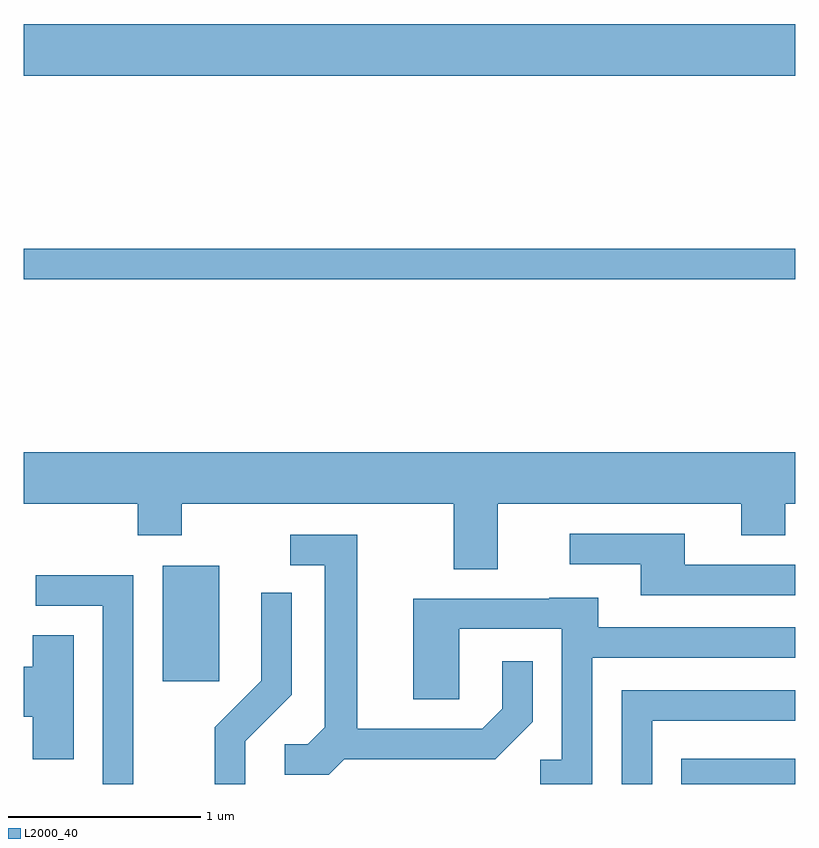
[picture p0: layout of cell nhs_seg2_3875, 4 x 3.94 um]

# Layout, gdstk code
import gdstk
lib = gdstk.Library(unit=1e-6, precision=1e-09)
def R(c, l, rs):  # rectangles x0, y0, x1, y1
    for r in rs: c.add(gdstk.rectangle(r[:2], r[2:], *l))
def P(c, l, *ps):  # polygons
    for p in ps: c.add(gdstk.Polygon(p, *l))
L2000_40 = (2000, 40)

nhs_seg2_3875 = lib.new_cell('nhs_seg2_3875')
R(nhs_seg2_3875, L2000_40, [(303.021,995.802,303.611,995.934), (300.331,996.336,300.624,996.934), (299.611,998.421,303.611,998.579), (299.611,999.476,303.611,999.744)])
P(nhs_seg2_3875, L2000_40, [(302.069,997.256),(303.331,997.256),(303.331,997.091),(303.559,997.091),(303.559,997.256),(303.611,997.256),(303.611,997.524),(299.611,997.524),(299.611,997.256),(300.201,997.256),(300.201,997.091),(300.429,997.091),(300.429,997.256),(301.841,997.256),(301.841,996.916),(302.069,996.916)],
  [(303.611,996.939),(303.039,996.939),(303.039,997.099),(302.443,997.099),(302.443,996.941),(302.811,996.941),(302.811,996.781),(303.611,996.781)],
  [(301.272,995.931),(302.057,995.931),(302.249,996.124),(302.249,996.438),(302.091,996.438),(302.091,996.192),(301.989,996.089),(301.339,996.089),(301.339,997.094),(300.993,997.094),(300.993,996.936),(301.171,996.936),(301.171,996.097),(301.084,996.009),(300.963,996.009),(300.963,995.851),(301.192,995.851)],
  [(300.179,996.884),(299.673,996.884),(299.673,996.726),(300.021,996.726),(300.021,995.802),(300.179,995.802)],
  [(300.759,996.024),(300.999,996.264),(300.999,996.793),(300.841,996.793),(300.841,996.337),(300.601,996.097),(300.601,995.802),(300.759,995.802)],
  [(302.559,996.456),(303.611,996.456),(303.611,996.614),(302.589,996.614),(302.589,996.769),(302.335,996.769),(302.335,996.764),(301.631,996.764),(301.631,996.241),(301.869,996.241),(301.869,996.606),(302.401,996.606),(302.401,995.929),(302.288,995.929),(302.288,995.802),(302.559,995.802)],
  [(299.869,996.574),(299.656,996.574),(299.656,996.409),(299.611,996.409),(299.611,996.151),(299.656,996.151),(299.656,995.931),(299.869,995.931)],
  [(302.869,996.131),(303.611,996.131),(303.611,996.289),(302.711,996.289),(302.711,995.802),(302.869,995.802)])

lib.write_gds('nhs_seg2_3875.gds')
